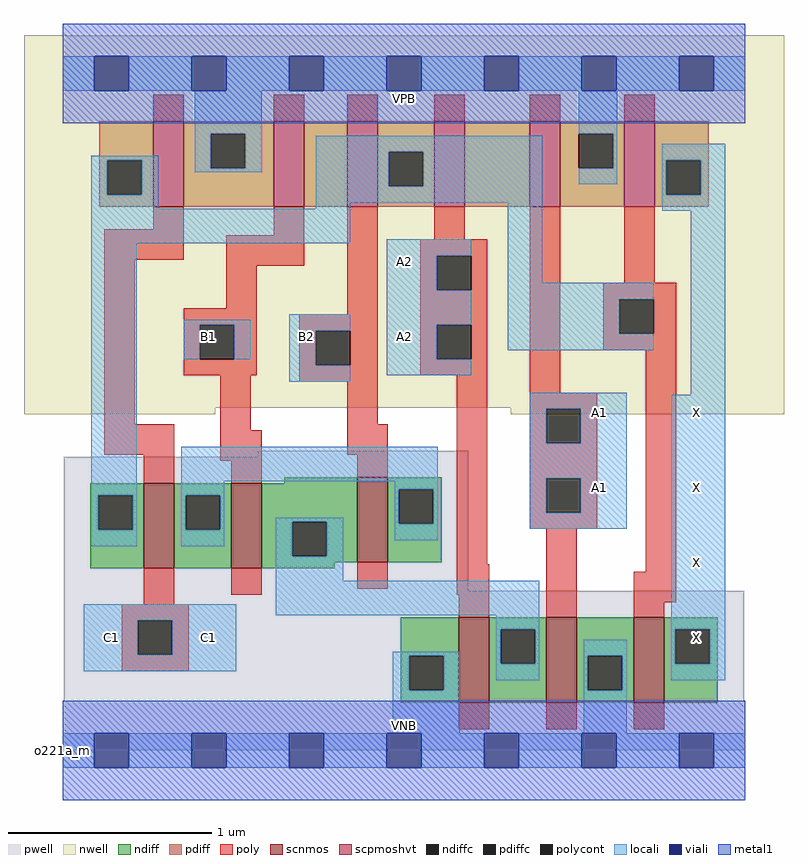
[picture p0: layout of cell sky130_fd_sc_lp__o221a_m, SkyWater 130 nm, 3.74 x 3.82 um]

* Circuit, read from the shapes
.subckt sky130_fd_sc_lp__o221a_m A1 A2 B1 B2 C1 VGND VNB VPB VPWR X
XM1 n1 C1 n2 VNB sky130_fd_pr__nfet_01v8 w=0.42 l=0.15
XM2 n3 B1 n1 VNB sky130_fd_pr__nfet_01v8 w=0.42 l=0.15
XM3 n1 B2 n3 VNB sky130_fd_pr__nfet_01v8 w=0.42 l=0.15
XM4 n3 A2 VGND VNB sky130_fd_pr__nfet_01v8 w=0.42 l=0.15
XM5 VGND A1 n3 VNB sky130_fd_pr__nfet_01v8 w=0.42 l=0.15
XM6 X n2 VGND VNB sky130_fd_pr__nfet_01v8 w=0.42 l=0.15
XM7 VPWR C1 n2 VPB sky130_fd_pr__pfet_01v8_hvt w=0.42 l=0.15
XM8 n4 B1 VPWR VPB sky130_fd_pr__pfet_01v8_hvt w=0.42 l=0.15
XM9 n2 B2 n4 VPB sky130_fd_pr__pfet_01v8_hvt w=0.42 l=0.15
XM10 n5 A2 n2 VPB sky130_fd_pr__pfet_01v8_hvt w=0.42 l=0.15
XM11 VPWR A1 n5 VPB sky130_fd_pr__pfet_01v8_hvt w=0.42 l=0.15
XM12 X n2 VPWR VPB sky130_fd_pr__pfet_01v8_hvt w=0.42 l=0.15
.ends

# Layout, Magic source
magic
tech sky130A
magscale 1 2
<< nwell >>
rect -38 337 710 704
rect -38 331 150 337
rect 441 331 710 337
<< pwell >>
rect 192 289 399 295
rect 1 157 399 289
rect 1 49 671 157
rect 0 0 672 49
<< scnmos >>
rect 80 179 110 263
rect 166 179 196 263
rect 290 185 320 269
rect 390 47 420 131
rect 476 47 506 131
rect 562 47 592 131
<< scpmoshvt >>
rect 89 535 119 619
rect 208 535 238 619
rect 280 535 310 619
rect 366 535 396 619
rect 460 535 490 619
rect 553 535 583 619
<< ndiff >>
rect 218 263 290 269
rect 27 251 80 263
rect 27 217 35 251
rect 69 217 80 251
rect 27 179 80 217
rect 110 251 166 263
rect 110 217 121 251
rect 155 217 166 251
rect 110 179 166 217
rect 196 225 290 263
rect 196 191 226 225
rect 260 191 290 225
rect 196 185 290 191
rect 320 257 373 269
rect 320 223 331 257
rect 365 223 373 257
rect 320 185 373 223
rect 196 179 268 185
rect 333 93 390 131
rect 333 59 341 93
rect 375 59 390 93
rect 333 47 390 59
rect 420 119 476 131
rect 420 85 431 119
rect 465 85 476 119
rect 420 47 476 85
rect 506 93 562 131
rect 506 59 517 93
rect 551 59 562 93
rect 506 47 562 59
rect 592 119 645 131
rect 592 85 603 119
rect 637 85 645 119
rect 592 47 645 85
<< pdiff >>
rect 36 581 89 619
rect 36 547 44 581
rect 78 547 89 581
rect 36 535 89 547
rect 119 607 208 619
rect 119 573 146 607
rect 180 573 208 607
rect 119 535 208 573
rect 238 535 280 619
rect 310 589 366 619
rect 310 555 321 589
rect 355 555 366 589
rect 310 535 366 555
rect 396 535 460 619
rect 490 607 553 619
rect 490 573 508 607
rect 542 573 553 607
rect 490 535 553 573
rect 583 581 636 619
rect 583 547 594 581
rect 628 547 636 581
rect 583 535 636 547
<< ndiffc >>
rect 35 217 69 251
rect 121 217 155 251
rect 226 191 260 225
rect 331 223 365 257
rect 341 59 375 93
rect 431 85 465 119
rect 517 59 551 93
rect 603 85 637 119
<< pdiffc >>
rect 44 547 78 581
rect 146 573 180 607
rect 321 555 355 589
rect 508 573 542 607
rect 594 547 628 581
<< poly >>
rect 89 619 119 645
rect 208 619 238 645
rect 280 619 310 645
rect 366 619 396 645
rect 460 619 490 645
rect 553 619 583 645
rect 89 513 119 535
rect 41 483 119 513
rect 208 507 238 535
rect 41 321 71 483
rect 161 477 238 507
rect 161 435 191 477
rect 119 419 191 435
rect 280 429 310 535
rect 366 503 396 535
rect 119 385 135 419
rect 169 385 191 419
rect 119 369 191 385
rect 233 413 310 429
rect 233 379 249 413
rect 283 379 310 413
rect 41 291 110 321
rect 80 263 110 291
rect 155 315 185 369
rect 233 363 310 379
rect 352 487 418 503
rect 352 453 368 487
rect 402 453 418 487
rect 352 419 418 453
rect 352 385 368 419
rect 402 385 418 419
rect 352 369 418 385
rect 280 321 310 363
rect 155 285 196 315
rect 280 291 320 321
rect 166 263 196 285
rect 290 269 320 291
rect 80 144 110 179
rect 166 153 196 179
rect 290 159 320 185
rect 388 183 418 369
rect 460 352 490 535
rect 553 460 583 535
rect 532 444 604 460
rect 532 410 548 444
rect 582 410 604 444
rect 532 394 604 410
rect 460 336 526 352
rect 460 302 476 336
rect 510 302 526 336
rect 460 268 526 302
rect 460 234 476 268
rect 510 234 526 268
rect 460 218 526 234
rect 388 153 420 183
rect 58 128 124 144
rect 390 131 420 153
rect 476 131 506 218
rect 574 176 604 394
rect 562 146 604 176
rect 562 131 592 146
rect 58 94 74 128
rect 108 94 124 128
rect 58 78 124 94
rect 390 21 420 47
rect 476 21 506 47
rect 562 21 592 47
<< polycont >>
rect 135 385 169 419
rect 249 379 283 413
rect 368 453 402 487
rect 368 385 402 419
rect 548 410 582 444
rect 476 302 510 336
rect 476 234 510 268
rect 74 94 108 128
<< locali >>
rect 0 649 31 683
rect 65 649 127 683
rect 161 649 223 683
rect 257 649 319 683
rect 353 649 415 683
rect 449 649 511 683
rect 545 649 607 683
rect 641 649 672 683
rect 130 607 196 649
rect 28 581 94 585
rect 28 547 44 581
rect 78 547 94 581
rect 130 573 146 607
rect 180 573 196 607
rect 508 607 546 649
rect 130 569 196 573
rect 249 589 472 605
rect 28 533 94 547
rect 249 555 321 589
rect 355 555 472 589
rect 542 573 546 607
rect 508 557 546 573
rect 590 581 652 597
rect 249 539 472 555
rect 249 533 283 539
rect 28 499 283 533
rect 28 251 73 499
rect 319 487 402 503
rect 319 453 368 487
rect 119 419 185 424
rect 119 385 135 419
rect 169 385 185 419
rect 223 413 283 429
rect 223 379 249 413
rect 223 363 283 379
rect 319 419 402 453
rect 319 385 368 419
rect 438 460 472 539
rect 590 547 594 581
rect 628 547 652 581
rect 590 531 652 547
rect 438 444 582 460
rect 438 410 548 444
rect 438 394 582 410
rect 319 369 402 385
rect 460 336 555 352
rect 618 350 652 531
rect 460 302 476 336
rect 510 302 555 336
rect 28 217 35 251
rect 69 217 73 251
rect 28 201 73 217
rect 117 265 369 299
rect 117 251 159 265
rect 117 217 121 251
rect 155 217 159 251
rect 327 257 369 265
rect 117 201 159 217
rect 210 225 276 229
rect 210 191 226 225
rect 260 191 276 225
rect 327 223 331 257
rect 365 223 369 257
rect 327 207 369 223
rect 460 268 555 302
rect 460 234 476 268
rect 510 234 555 268
rect 460 218 555 234
rect 210 167 276 191
rect 21 128 171 144
rect 210 133 469 167
rect 21 94 74 128
rect 108 94 171 128
rect 427 119 469 133
rect 21 78 171 94
rect 325 93 391 97
rect 325 59 341 93
rect 375 59 391 93
rect 427 85 431 119
rect 465 85 469 119
rect 599 119 652 350
rect 427 69 469 85
rect 513 93 555 109
rect 325 17 391 59
rect 513 59 517 93
rect 551 59 555 93
rect 599 85 603 119
rect 637 85 652 119
rect 599 69 652 85
rect 513 17 555 59
rect 0 -17 31 17
rect 65 -17 127 17
rect 161 -17 223 17
rect 257 -17 319 17
rect 353 -17 415 17
rect 449 -17 511 17
rect 545 -17 607 17
rect 641 -17 672 17
<< viali >>
rect 31 649 65 683
rect 127 649 161 683
rect 223 649 257 683
rect 319 649 353 683
rect 415 649 449 683
rect 511 649 545 683
rect 607 649 641 683
rect 31 -17 65 17
rect 127 -17 161 17
rect 223 -17 257 17
rect 319 -17 353 17
rect 415 -17 449 17
rect 511 -17 545 17
rect 607 -17 641 17
<< metal1 >>
rect 0 683 672 715
rect 0 649 31 683
rect 65 649 127 683
rect 161 649 223 683
rect 257 649 319 683
rect 353 649 415 683
rect 449 649 511 683
rect 545 649 607 683
rect 641 649 672 683
rect 0 617 672 649
rect 0 17 672 49
rect 0 -17 31 17
rect 65 -17 127 17
rect 161 -17 223 17
rect 257 -17 319 17
rect 353 -17 415 17
rect 449 -17 511 17
rect 545 -17 607 17
rect 641 -17 672 17
rect 0 -49 672 -17
<< labels >>
flabel pwell s 0 0 672 49 0 FreeSans 200 0 0 0 VNB
port 7 nsew ground bidirectional
flabel nwell s 0 617 672 666 0 FreeSans 200 0 0 0 VPB
port 8 nsew power bidirectional
rlabel comment s 0 0 0 0 4 o221a_m
flabel metal1 s 0 617 672 666 0 FreeSans 340 0 0 0 VPWR
port 9 nsew power bidirectional
flabel metal1 s 0 0 672 49 0 FreeSans 340 0 0 0 VGND
port 6 nsew ground bidirectional
flabel locali s 511 242 545 276 0 FreeSans 340 0 0 0 A1
port 1 nsew signal input
flabel locali s 511 316 545 350 0 FreeSans 340 0 0 0 A1
port 1 nsew signal input
flabel locali s 319 390 353 424 0 FreeSans 340 0 0 0 A2
port 2 nsew signal input
flabel locali s 319 464 353 498 0 FreeSans 340 0 0 0 A2
port 2 nsew signal input
flabel locali s 127 390 161 424 0 FreeSans 340 0 0 0 B1
port 3 nsew signal input
flabel locali s 223 390 257 424 0 FreeSans 340 0 0 0 B2
port 4 nsew signal input
flabel locali s 31 94 65 128 0 FreeSans 340 0 0 0 C1
port 5 nsew signal input
flabel locali s 127 94 161 128 0 FreeSans 340 0 0 0 C1
port 5 nsew signal input
flabel locali s 607 94 641 128 0 FreeSans 340 0 0 0 X
port 10 nsew signal output
flabel locali s 607 168 641 202 0 FreeSans 340 0 0 0 X
port 10 nsew signal output
flabel locali s 607 242 641 276 0 FreeSans 340 0 0 0 X
port 10 nsew signal output
flabel locali s 607 316 641 350 0 FreeSans 340 0 0 0 X
port 10 nsew signal output
<< properties >>
string LEFsite unit
string LEFclass CORE
string FIXED_BBOX 0 0 672 666
string GDS_FILE $PDKPATH/libs.ref/sky130_fd_sc_lp/gds/sky130_fd_sc_lp.gds
string LEFsymmetry X Y R90
string GDS_END 4866088
string GDS_START 4858706
<< end >>
